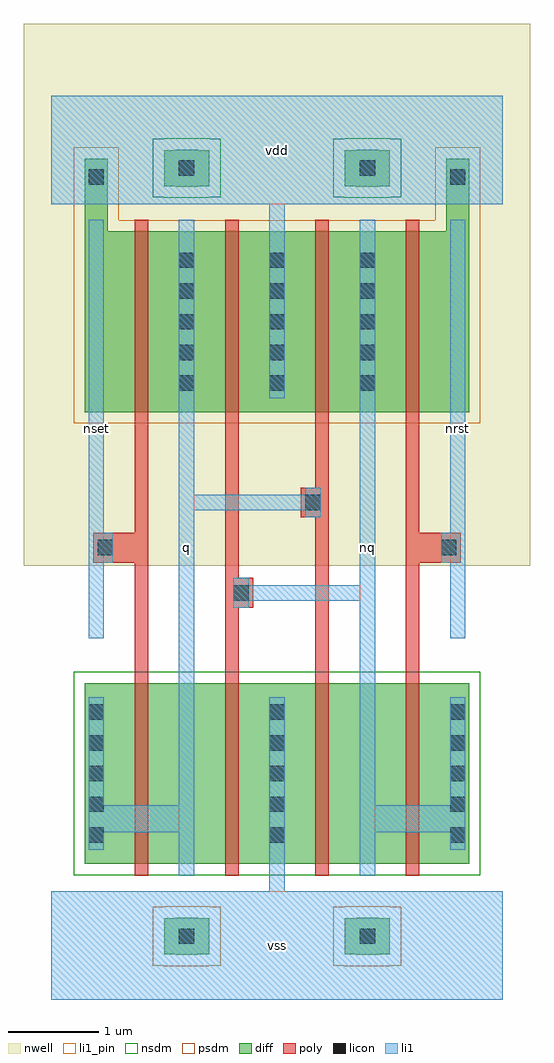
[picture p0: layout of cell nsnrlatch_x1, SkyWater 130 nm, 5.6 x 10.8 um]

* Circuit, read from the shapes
.subckt nsnrlatch_x1 nq nrst nset q vdd vss
XM1 n1 nset q VSUBS sky130_fd_pr__nfet_01v8 w=2 l=0.15
XM2 vss nq n1 VSUBS sky130_fd_pr__nfet_01v8 w=2 l=0.15
XM3 n2 q vss VSUBS sky130_fd_pr__nfet_01v8 w=2 l=0.15
XM4 nq nrst n2 VSUBS sky130_fd_pr__nfet_01v8 w=2 l=0.15
XM5 q nset vdd n3 sky130_fd_pr__pfet_01v8 w=2 l=0.15
XM6 vdd nq q n3 sky130_fd_pr__pfet_01v8 w=2 l=0.15
XM7 nq q vdd n3 sky130_fd_pr__pfet_01v8 w=2 l=0.15
XM8 vdd nrst nq n3 sky130_fd_pr__pfet_01v8 w=2 l=0.15
.ends

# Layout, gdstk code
import gdstk
lib = gdstk.Library(unit=1e-6, precision=1e-09)
def R(c, l, rs):  # rectangles x0, y0, x1, y1
    for r in rs: c.add(gdstk.rectangle(r[:2], r[2:], *l))
def A(c, l, x, y, w, h, nx, ny, dx, dy):  # array of equal rectangles
    R(c, l, [(x+i*dx, y+j*dy, x+i*dx+w, y+j*dy+h) for i in range(nx) for j in range(ny)])
def P(c, l, *ps):  # polygons
    for p in ps: c.add(gdstk.Polygon(p, *l))
nwell = (64, 20)
diff = (65, 20)
poly = (66, 20)
licon = (66, 44)
li1_pin = (67, 16)
li1 = (67, 20)
nsdm = (93, 44)
psdm = (94, 20)

nsnrlatch_x1 = lib.new_cell('nsnrlatch_x1')
R(nsnrlatch_x1, nwell, [(-0.3,4.8,5.3,10.8)])
R(nsnrlatch_x1, diff, [(0.375,1.5,4.625,3.5)])
P(nsnrlatch_x1, diff, [(1.375,0.495),(1.375,0.5),(1.25,0.5),(1.25,0.9),(1.375,0.9),(1.375,0.905),(1.625,0.905),(1.625,0.9),(1.75,0.9),(1.75,0.5),(1.625,0.5),(1.625,0.495)],
  [(3.375,0.495),(3.375,0.5),(3.25,0.5),(3.25,0.9),(3.375,0.9),(3.375,0.905),(3.625,0.905),(3.625,0.9),(3.75,0.9),(3.75,0.5),(3.625,0.5),(3.625,0.495)],
  [(0.375,6.5),(0.375,9.305),(0.625,9.305),(0.625,8.5),(4.375,8.5),(4.375,9.305),(4.625,9.305),(4.625,6.5)],
  [(1.375,8.995),(1.375,9),(1.25,9),(1.25,9.4),(1.375,9.4),(1.375,9.405),(1.625,9.405),(1.625,9.4),(1.75,9.4),(1.75,9),(1.625,9),(1.625,8.995)],
  [(3.375,8.995),(3.375,9),(3.25,9),(3.25,9.4),(3.375,9.4),(3.375,9.405),(3.625,9.405),(3.625,9.4),(3.75,9.4),(3.75,9),(3.625,9),(3.625,8.995)])
P(nsnrlatch_x1, poly, [(0.925,1.37),(0.925,4.835),(0.465,4.835),(0.465,5.165),(0.925,5.165),(0.925,8.63),(1.075,8.63),(1.075,1.37)],
  [(1.925,1.37),(1.925,8.63),(2.075,8.63),(2.075,4.665),(2.235,4.665),(2.235,4.335),(2.075,4.335),(2.075,1.37)],
  [(2.925,1.37),(2.925,5.335),(2.765,5.335),(2.765,5.665),(2.925,5.665),(2.925,8.63),(3.075,8.63),(3.075,1.37)],
  [(3.925,1.37),(3.925,8.63),(4.075,8.63),(4.075,5.165),(4.535,5.165),(4.535,4.835),(4.075,4.835),(4.075,1.37)])
A(nsnrlatch_x1, licon, 0.415, 1.735, 0.17, 0.17, 3, 5, 2, 0.34)
A(nsnrlatch_x1, licon, 1.415, 6.735, 0.17, 0.17, 3, 5, 1, 0.34)
R(nsnrlatch_x1, licon, [(1.415,0.615,1.585,0.785), (3.415,0.615,3.585,0.785), (2.015,4.415,2.185,4.585), (0.515,4.915,0.685,5.085), (4.315,4.915,4.485,5.085), (2.815,5.415,2.985,5.585), (0.415,9.015,0.585,9.185), (4.415,9.015,4.585,9.185), (1.415,9.115,1.585,9.285), (3.415,9.115,3.585,9.285)])
R(nsnrlatch_x1, li1_pin, [(0,0,5,1.2), (1.415,1.37,1.585,8.63), (3.415,1.37,3.585,8.63), (0.415,4,0.585,8.63), (4.415,4,4.585,8.63), (0,8.8,5,10)])
P(nsnrlatch_x1, li1, [(0,0),(0,1.2),(2.415,1.2),(2.415,3.345),(2.585,3.345),(2.585,1.2),(5,1.2),(5,0)],
  [(0.415,4),(0.415,8.63),(0.585,8.63),(0.585,5.165),(0.685,5.165),(0.685,4.835),(0.585,4.835),(0.585,4)],
  [(1.415,1.37),(1.415,1.85),(0.585,1.85),(0.585,1.655),(0.415,1.655),(0.415,3.345),(0.585,3.345),(0.585,2.15),(1.415,2.15),(1.415,8.63),(1.585,8.63),(1.585,5.585),(2.815,5.585),(2.815,5.665),(2.985,5.665),(2.985,5.335),(2.815,5.335),(2.815,5.415),(1.585,5.415),(1.585,1.37)],
  [(3.415,1.37),(3.415,4.415),(2.185,4.415),(2.185,4.335),(2.015,4.335),(2.015,4.665),(2.185,4.665),(2.185,4.585),(3.415,4.585),(3.415,8.63),(3.585,8.63),(3.585,2.15),(4.415,2.15),(4.415,3.345),(4.585,3.345),(4.585,1.655),(4.415,1.655),(4.415,1.85),(3.585,1.85),(3.585,1.37)],
  [(4.415,4),(4.415,4.835),(4.315,4.835),(4.315,5.165),(4.415,5.165),(4.415,8.63),(4.585,8.63),(4.585,4)],
  [(2.415,6.655),(2.415,8.8),(0,8.8),(0,10),(5,10),(5,8.8),(2.585,8.8),(2.585,6.655)])
R(nsnrlatch_x1, nsdm, [(0.25,1.375,4.75,3.625)])
P(nsnrlatch_x1, nsdm, [(1.25,8.87),(1.25,8.875),(1.125,8.875),(1.125,9.525),(1.25,9.525),(1.25,9.53),(1.75,9.53),(1.75,9.525),(1.875,9.525),(1.875,8.875),(1.75,8.875),(1.75,8.87)],
  [(3.25,8.87),(3.25,8.875),(3.125,8.875),(3.125,9.525),(3.25,9.525),(3.25,9.53),(3.75,9.53),(3.75,9.525),(3.875,9.525),(3.875,8.875),(3.75,8.875),(3.75,8.87)])
P(nsnrlatch_x1, psdm, [(1.25,0.37),(1.25,0.375),(1.125,0.375),(1.125,1.025),(1.25,1.025),(1.25,1.03),(1.75,1.03),(1.75,1.025),(1.875,1.025),(1.875,0.375),(1.75,0.375),(1.75,0.37)],
  [(3.25,0.37),(3.25,0.375),(3.125,0.375),(3.125,1.025),(3.25,1.025),(3.25,1.03),(3.75,1.03),(3.75,1.025),(3.875,1.025),(3.875,0.375),(3.75,0.375),(3.75,0.37)],
  [(0.25,6.375),(0.25,9.43),(0.75,9.43),(0.75,8.625),(4.25,8.625),(4.25,9.43),(4.75,9.43),(4.75,6.375)])
nsnrlatch_x1.add(gdstk.Label('vss', (2.5,0.6), layer=67, texttype=16))
nsnrlatch_x1.add(gdstk.Label('nq', (3.5,5), layer=67, texttype=16))
nsnrlatch_x1.add(gdstk.Label('q', (1.5,5), layer=67, texttype=16))
nsnrlatch_x1.add(gdstk.Label('vdd', (2.5,9.4), layer=67, texttype=16))
nsnrlatch_x1.add(gdstk.Label('nrst', (4.5,6.315), layer=67, texttype=16))
nsnrlatch_x1.add(gdstk.Label('nset', (0.5,6.315), layer=67, texttype=16))
nsnrlatch_x1.add(gdstk.Label('vss', (2.5,0.6), layer=67, texttype=16))
nsnrlatch_x1.add(gdstk.Label('nq', (3.5,5), layer=67, texttype=16))
nsnrlatch_x1.add(gdstk.Label('q', (1.5,5), layer=67, texttype=16))
nsnrlatch_x1.add(gdstk.Label('vdd', (2.5,9.4), layer=67, texttype=16))
nsnrlatch_x1.add(gdstk.Label('nrst', (4.5,6.315), layer=67, texttype=16))
nsnrlatch_x1.add(gdstk.Label('nset', (0.5,6.315), layer=67, texttype=16))

lib.write_gds('nsnrlatch_x1.gds')
